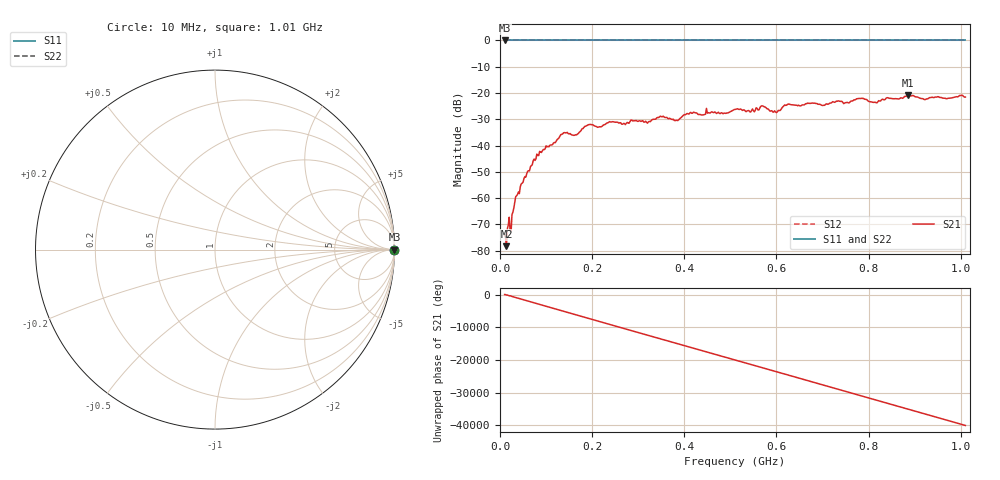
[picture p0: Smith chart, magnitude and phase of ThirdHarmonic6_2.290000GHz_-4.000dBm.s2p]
! 8/17/2025 3:01:53 AM
! C:\ANRITSUVNA\TEMP\TEMP.S2P
! CHANNEL.1
! TR.MEASUREMENT
! RAW.DATA
! RF.CORRECTION.OFF
! AVERAGING.OFF
! IF.BANDWIDTH: 5KHZ
! SWEEPTYPE:  FREQ.SWEEP(Linear)
! Reference Plane Port Info
! PORT:  PORT1  PORT2
! DISTANCE:  0  m  0  m
! TIME:  0  s  0  s
! PHASE.OFFSET:  0  deg.  0  deg.
! LOSS:  0  dB  0  dB
! REF.LOSS:  0  dB  0  dB
! REF.FREQ:  0  Hz  0  Hz
! Power Info
! POWER:  -20  dBm  -20  dBm
! EFF.POWER:  -20  dBm  -20  dBm
! SOURCE.ATTEN:  0  dB  0  dB
! TEST.ATTEN:  0  dB  0  dB
# GHZ S RI R 50.0
! FREQ.GHZ  S11RE  S11IM  S21RE  S21IM  S12RE  S12IM  S22RE  S22IM
!; PortSelection: Port_12
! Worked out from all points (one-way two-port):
!   501 points, 10 MHz to 1.01 GHz, reference 50 ohm
!   highest |S21| = -20.81 dB at 886 MHz (marker M1); lowest = -78.3 dB at 14 MHz (marker M2)
!   lowest |S11| = 0.0 dB at 10 MHz (marker M3)
!   |S11| at or under -10 dB: nowhere
!   |S22| runs from 0.0 to 0.0 dB; largest |S21 - S12| = 1.1
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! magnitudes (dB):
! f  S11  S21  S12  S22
! 10 MHz  0.0  -74.0  0.0  0.0
! 14 MHz  0.0  -78.3  0.0  0.0
! 26 MHz  0.0  -66.3  0.0  0.0
! 36 MHz  0.0  -59.1  0.0  0.0
! 76 MHz  0.0  -45.7  0.0  0.0
! 136 MHz  0.0  -35.6  0.0  0.0
! 164 MHz  0.0  -35.9  0.0  0.0
! 178 MHz  0.0  -33.6  0.0  0.0
! 194 MHz  0.0  -32.0  0.0  0.0
! 322 MHz  0.0  -31.0  0.0  0.0
! 344 MHz  0.0  -29.4  0.0  0.0
! 382 MHz  0.0  -30.4  0.0  0.0
! 416 MHz  0.0  -27.7  0.0  0.0
! 510 MHz  0.0  -26.3  0.0  0.0
! 570 MHz  0.0  -24.9  0.0  0.0
! 598 MHz  0.0  -27.2  0.0  0.0
! 622 MHz  0.0  -24.6  0.0  0.0
! 678 MHz  0.0  -23.9  0.0  0.0
! 814 MHz  0.0  -23.5  0.0  0.0
! 844 MHz  0.0  -22.0  0.0  0.0
! 886 MHz  0.0  -20.8  0.0  0.0
! 1.01 GHz  0.0  -21.6  0.0  0.0
